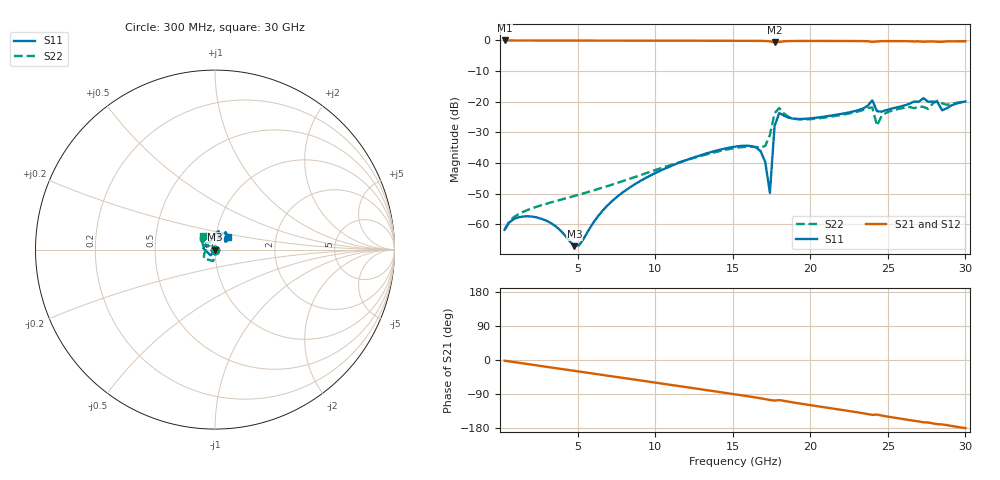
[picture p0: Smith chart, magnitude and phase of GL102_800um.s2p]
! Created Wed Apr 21 14:06:45 2021
! List of port names and net name(s): example Port n = <port_name> <net_name1> <net_name2> ...
! Port 1 = P1 P2 gnd!
! Port 2 = P2 P2 P4
# hz S ri R 50
! 2 Port Network Data from data block
! freq  reS11  imS11  reS21  imS21  reS12  imS12  reS22  imS22
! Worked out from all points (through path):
!   100 points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, 300 MHz to 30 GHz, reference 50 ohm
!   highest |S21| = -0.01 dB at 300 MHz (marker M1); lowest = -0.6 dB at 17.7 GHz (marker M2)
!   group delay of S21, straight-line fit = 16.6 ps
!   lowest |S11| = -67.1 dB at 4.8 GHz (marker M3), VSWR 1.00, Z = 50 + j0.0422 ohm
!   |S11| at or under -10 dB: start of sweep to end of sweep
!   |S22| runs from -61.7 to -19.7 dB; largest |S21 - S12| = 0
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3e8  0.000664 0.000472  0.9986 -0.0321  0.9986 -0.0321  0.000676 0.000473
9e8  0.00108 0.000582  0.9937 -0.0947  0.9937 -0.0947  0.00119 0.000573
2.4e9  0.0012 0.000492  0.9653 -0.2477  0.9653 -0.2477  0.00193 0.000289
4.8e9  0.000133 0.000422  0.8726 -0.477  0.8726 -0.477  0.00271 -0.00108
5.4e9  -0.000329 0.000483  0.8408 -0.53  0.8408 -0.53  0.00278 -0.00161
7.2e9  -0.00214 0.001  0.7268 -0.6759  0.7268 -0.6759  0.00254 -0.00364
1.02e10  -0.0063 0.00358  0.4832 -0.8644  0.4832 -0.8644  -0.000314 -0.00797
1.53e10  -0.011 0.0152  -0.0263 -0.9858  -0.0263 -0.9858  -0.0126 -0.0126
1.68e10  -0.00497 0.0149  -0.1891 -0.9638  -0.1891 -0.9638  -0.0108 -0.0145
1.71e10  -0.0016 0.0103  -0.2242 -0.9526  -0.2242 -0.9526  -0.00689 -0.0178
1.74e10  0.00102 -0.00311  -0.2602 -0.9318  -0.2602 -0.9318  -0.000107 -0.0287
1.77e10  -0.0243 -0.032  -0.2731 -0.8894  -0.2731 -0.8894  -0.0105 -0.0641
1.8e10  -0.0652 0.00735  -0.2561 -0.9067  -0.2561 -0.9067  -0.0619 -0.0487
1.89e10  -0.0335 0.0411  -0.3666 -0.9071  -0.3666 -0.9071  -0.0525 -0.00962
2.01e10  -0.0231 0.0487  -0.4857 -0.8517  -0.4857 -0.8517  -0.0523 -0.00176
2.31e10  -0.00619 0.0727  -0.7315 -0.6474  -0.7315 -0.6474  -0.066 0.0219
2.4e10  0.0205 0.1033  -0.7722 -0.5449  -0.7722 -0.5449  -0.0528 0.0611
2.43e10  0.0308 0.0631  -0.7781 -0.5628  -0.7781 -0.5628  -0.0366 0.0182
2.52e10  0.0185 0.0744  -0.8502 -0.4767  -0.8502 -0.4767  -0.0645 0.029
2.73e10  0.0603 0.0975  -0.9178 -0.2553  -0.9178 -0.2553  -0.0562 0.0609
2.85e10  0.0581 0.0435  -0.9353 -0.1646  -0.9353 -0.1646  -0.0615 0.0716
3e10  0.0728 0.0704  -0.9689 -0.00226  -0.9689 -0.00226  -0.0689 0.075
